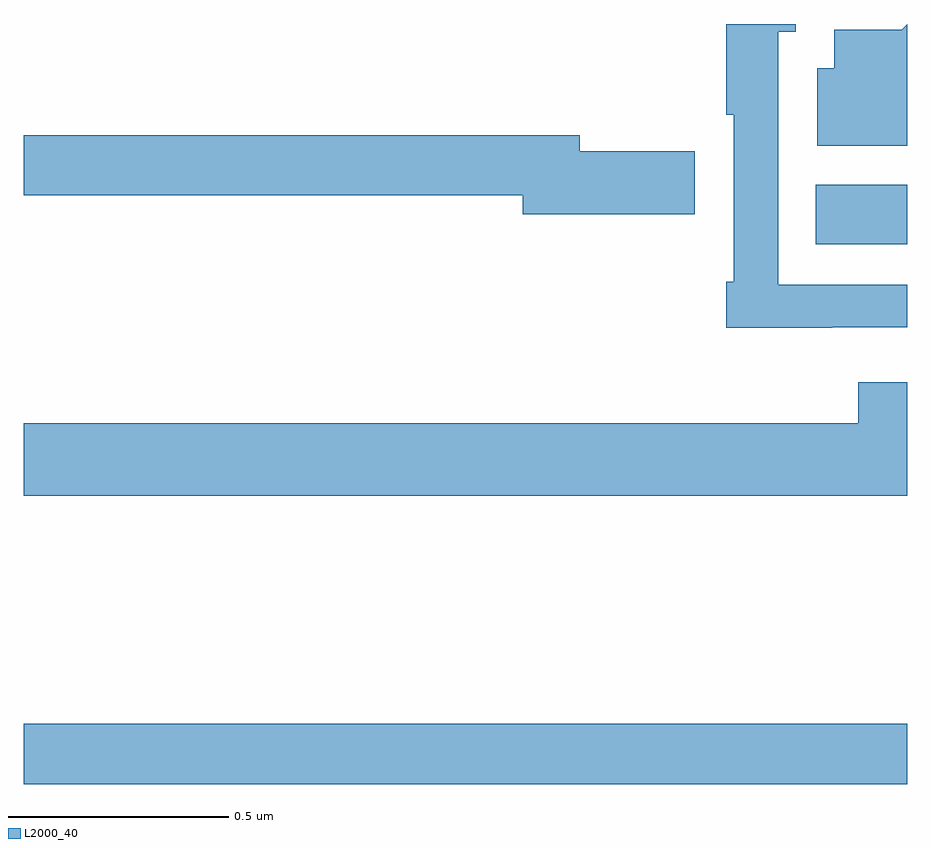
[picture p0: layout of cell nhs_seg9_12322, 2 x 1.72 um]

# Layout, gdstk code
import gdstk
lib = gdstk.Library(unit=1e-6, precision=1e-09)
def R(c, l, rs):  # rectangles x0, y0, x1, y1
    for r in rs: c.add(gdstk.rectangle(r[:2], r[2:], *l))
def P(c, l, *ps):  # polygons
    for p in ps: c.add(gdstk.Polygon(p, *l))
L2000_40 = (2000, 40)

nhs_seg9_12322 = lib.new_cell('nhs_seg9_12322')
R(nhs_seg9_12322, L2000_40, [(267,1183.78,269,1183.916), (268.793,1185.002,269,1185.136)])
P(nhs_seg9_12322, L2000_40, [(268.83,1184.814),(269,1184.814),(269,1184.91),(268.708,1184.91),(268.708,1185.483),(268.747,1185.483),(268.747,1185.5),(268.59,1185.5),(268.59,1185.295),(268.607,1185.295),(268.607,1184.917),(268.59,1184.917),(268.59,1184.813),(268.83,1184.813)],
  [(269,1185.5),(268.987,1185.487),(268.835,1185.487),(268.835,1185.4),(268.796,1185.4),(268.796,1185.224),(269,1185.224)],
  [(268.519,1185.212),(268.258,1185.212),(268.258,1185.248),(267,1185.248),(267,1185.112),(268.13,1185.112),(268.13,1185.07),(268.519,1185.07)],
  [(269,1184.689),(268.889,1184.689),(268.889,1184.596),(267,1184.596),(267,1184.432),(269,1184.432)])

lib.write_gds('nhs_seg9_12322.gds')
